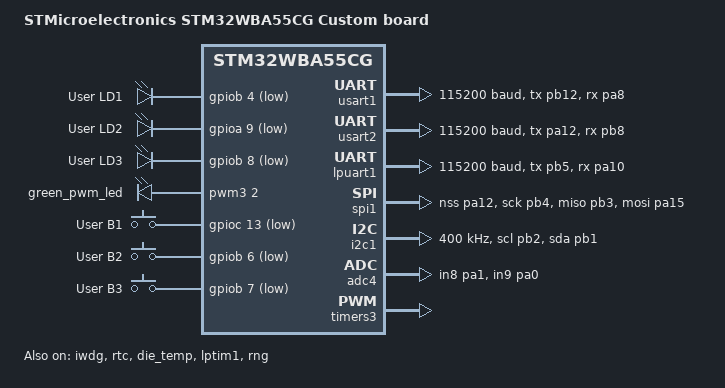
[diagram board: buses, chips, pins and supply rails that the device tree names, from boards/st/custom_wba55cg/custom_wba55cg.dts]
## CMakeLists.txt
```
# SPDX-License-Identifier: Apache-2.0

cmake_minimum_required(VERSION 3.20.0)

# Add the parent directory to the DTS search path
# CMAKE_CURRENT_SOURCE_DIR is the folder containing this CMakeLists.txt
set(DTS_ROOT ${CMAKE_CURRENT_SOURCE_DIR}/..)
list(APPEND BOARD_ROOT ${CMAKE_CURRENT_SOURCE_DIR})

find_package(Zephyr REQUIRED HINTS $ENV{ZEPHYR_BASE})
project(rcp_ble_ot)

target_sources(app PRIVATE
	../src/uart_mux.c
  src/hci_uart_async.c
  src/main.c
)

target_include_directories(app PRIVATE
	../src
)
```

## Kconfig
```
source "Kconfig.zephyr"

source "rcp_ble_ot/src/Kconfig.uart_mux"
```

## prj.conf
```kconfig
# hci_uart_async
CONFIG_SERIAL=y
CONFIG_UART_ASYNC_API=y
CONFIG_UART_MUX=y

#########################################################################
# PROTOCOL MAXIMUM PACKET SIZES (REFERENCE GUIDE)
#########################################################################
#
# 1. BLE HCI COMMAND PACKET
#    Structure: OpCode (2B) + Length (1B) + Parameters (255B)
#    Max Size:  258 bytes
#    Note:      Used for Host-to-Controller communication.
#
# 2. BLE HCI EVENT PACKET
#    Structure: Event Code (1B) + Length (1B) + Parameters (255B)
#    Max Size:  257 bytes
#    Note:      Used for Controller-to-Host notifications.
#
# 3. BLE HCI ACL DATA PACKET
#    Structure: Handle/Flags (2B) + Length (2B) + Data (65535B)
#    Max Size:  65,539 bytes (Theoretical)
#    Practical: Zephyr typically defaults to 251 bytes to match DLE.
#
# 4. BLE HCI ISO DATA PACKET (LE AUDIO)
#    Structure: Handle/Flags (2B) + Length (14-bit) + Data (16383B)
#    Max Size:  16,387 bytes
#
# 5. OPENTHREAD SPINEL (OVER UART/HDLC)
#    Structure: Frame (1300B) + HDLC Overhead + Byte Stuffing
#    Max Size:  ~1300 bytes (Logical)
#    Wire Max:  ~2600 bytes (Worst-case HDLC escaping over UART)
#
#########################################################################
CONFIG_UART_MUX_RX_BUF_SIZE=3072
# See above, ignoring ISO case

# hci_raw (dependency of hci_uart)
CONFIG_BT=y
CONFIG_BT_HCI_RAW=y
CONFIG_BT_HCI_RAW_H4=y
CONFIG_BT_HCI_RAW_H4_ENABLE=y

# Controller configuration. Modify these for your application's needs.
CONFIG_BT_MAX_CONN=16
CONFIG_BT_BUF_ACL_RX_SIZE=255
CONFIG_BT_BUF_CMD_TX_SIZE=255

CONFIG_BT_HCI_TX_STACK_SIZE_WITH_PROMPT=y
CONFIG_BT_HCI_TX_STACK_SIZE=1280

# Send an initial HCI_Command_Complete event on boot without waiting for
# HCI_Reset. Make sure to use the same value for this setting in your
# host application.
#CONFIG_BT_WAIT_NOP=y


CONFIG_NETWORKING=y
CONFIG_NET_L2_OPENTHREAD=y

# Disable certain parts of Zephyr IPv6 stack
CONFIG_NET_IPV6_NBR_CACHE=n
CONFIG_NET_IPV6_MLD=n

CONFIG_OPENTHREAD_THREAD_VERSION_1_4=y

CONFIG_OPENTHREAD_COPROCESSOR=y
CONFIG_OPENTHREAD_COPROCESSOR_NCP=n
CONFIG_OPENTHREAD_COPROCESSOR_RCP=y

CONFIG_NET_PKT_RX_COUNT=8
CONFIG_NET_PKT_TX_COUNT=8

# Add features required for NCP
CONFIG_OPENTHREAD_DIAG=y
CONFIG_OPENTHREAD_DHCP6_SERVER=y
CONFIG_OPENTHREAD_COMMISSIONER=y
CONFIG_OPENTHREAD_BORDER_AGENT=y
CONFIG_OPENTHREAD_BORDER_ROUTER=y
CONFIG_OPENTHREAD_UDP_FORWARD=y
CONFIG_OPENTHREAD_ENABLE_SERVICE=y

CONFIG_OPENTHREAD_RADIO_WORKQUEUE_STACK_SIZE=1536

#
# Logging / console
#
# Disable console & polling UART usage. It is not possible to use it with virtual UART.
CONFIG_CONSOLE=y
CONFIG_UART_CONSOLE=y
CONFIG_BOOT_BANNER=y

# Enable logging
CONFIG_LOG=y
CONFIG_LOG_MODE_DEFERRED=y
CONFIG_LOG_DEFAULT_LEVEL=3
CONFIG_LOG_OUTPUT=y

# Log backend infrastructure
CONFIG_LOG_BACKEND_UART=y

CONFIG_LOG_BUFFER_SIZE=2048
CONFIG_LOG_PROCESS_THREAD_CUSTOM_PRIORITY=y
CONFIG_LOG_PROCESS_THREAD_STACK_SIZE=1024
CONFIG_LOG_PROCESS_THREAD_PRIORITY=5
CONFIG_LOG_PROCESS_TRIGGER_THRESHOLD=1

# Needed by logging
CONFIG_PRINTK=y

# Use NVS as settings backend
CONFIG_NVS=y

# Kernel options
CONFIG_MAIN_STACK_SIZE=1024

# Debug options
CONFIG_INIT_STACKS=y

CONFIG_ASSERT=n
CONFIG_DEBUG_THREAD_INFO=y

# Enable the thread analyzer
CONFIG_THREAD_ANALYZER=y
CONFIG_THREAD_ANALYZER_USE_LOG=y
#CONFIG_THREAD_ANALYZER_AUTO=y
#CONFIG_THREAD_ANALYZER_AUTO_INTERVAL=5

# Required to calculate stack usage
CONFIG_THREAD_STACK_INFO=y
```

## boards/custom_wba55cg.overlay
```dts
/*
 * Copyright (c) 2025 STMicroelectronics
 *
 * SPDX-License-Identifier: Apache-2.0
 */

usart_console: &usart2 {
	clocks = <&rcc STM32_CLOCK(APB1, 17)>,
		 <&rcc STM32_SRC_SYSCLK USART2_SEL(1)>;
	pinctrl-0 = <&usart2_tx_pb0 &usart2_rx_pb8>;
	pinctrl-1 = <&analog_pb0 &analog_pb8>;
	pinctrl-names = "default", "sleep";
	current-speed = <115200>;
	status = "okay";
};

usart_mux: &usart1 {
	clocks = <&rcc STM32_CLOCK(APB2, 14)>,
		 <&rcc STM32_SRC_SYSCLK USART1_SEL(1)>;
	dmas = <&gpdma1 0 12 STM32_DMA_PERIPH_TX>,
	       <&gpdma1 1 11 (STM32_DMA_PERIPH_RX | STM32_DMA_MODE_CYCLIC)>;
	dma-names = "tx", "rx";
	pinctrl-0 = <&usart1_tx_pb12 &usart1_rx_pa8 &usart1_cts_pa7 &usart1_rts_pa6>;
	pinctrl-1 = <&analog_pb12 &analog_pa8 &analog_pa7 &analog_pa6>;
	pinctrl-names = "default",
	                "sleep";
	hw-flow-control;
	current-speed = <2000000>;
	fifo-enable;
	status = "okay";
};

&pinctrl {
			/omit-if-no-ref/ pta_active_pb3: pta_active_pb3 {
				pinmux = <STM32_PINMUX('B', 3, AF10)>;
				bias-pull-down;
				slew-rate = "very-high-speed";
			};
			/omit-if-no-ref/ pta_active_pb4: pta_active_pb4 {
				pinmux = <STM32_PINMUX('B', 4, AF12)>;
				bias-pull-down;
				slew-rate = "very-high-speed";
			};

			/omit-if-no-ref/ pta_grant_pb15: pta_grant_pb15 {
				pinmux = <STM32_PINMUX('B', 15, AF10)>;
				bias-pull-down;
				slew-rate = "very-high-speed";
			};
			/omit-if-no-ref/ pta_grant_h3: pta_grant_ph3 {
				pinmux = <STM32_PINMUX('H', 3, AF10)>;
				bias-pull-down;
				slew-rate = "very-high-speed";
			};

			/omit-if-no-ref/ pta_status_pa12: pta_status_pa12 {
				pinmux = <STM32_PINMUX('A', 12, AF10)>;
				bias-pull-down;
				slew-rate = "very-high-speed";
			};
			/omit-if-no-ref/ pta_status_pa14: pta_status_pa14 {
				pinmux = <STM32_PINMUX('A', 14, AF10)>;
				bias-pull-down;
				slew-rate = "very-high-speed";
			};
			/omit-if-no-ref/ pta_status_pa15: pta_status_pa15 {
				pinmux = <STM32_PINMUX('A', 15, AF10)>;
				bias-pull-down;
				slew-rate = "very-high-speed";
			};

			/omit-if-no-ref/ pta_priority_pa13: pta_priority_pa13 {
				pinmux = <STM32_PINMUX('A', 13, AF10)>;
				bias-pull-down;
				slew-rate = "very-high-speed";
			};
			/omit-if-no-ref/ pta_priority_pb4: pta_priority_pb4 {
				pinmux = <STM32_PINMUX('B', 4, AF10)>;
				bias-pull-down;
				slew-rate = "very-high-speed";
			};
};

/ {
	/* Separate node for the extra GPIOs for power management */
	usart_mux_pm: usart_mux_pm {
		compatible = "st,uart-power-ctrl";   /* custom compatible */
		wakeup-from-host-gpios = <&gpioa 0 GPIO_ACTIVE_HIGH>;   /* Wakeup from host */
		wakeup-to-host-gpios = <&gpioa 1 GPIO_ACTIVE_LOW>;    /* Wakeup to host */
	};
    pta: pta-controller {
        compatible = "st,pta-gpio";
        status = "okay";
        pinctrl-0 = <&pta_active_pb3 &pta_grant_pb15 &pta_status_pa15>;
        pinctrl-1 = <&analog_pb3 &analog_pb15 &analog_pa15>;
		pinctrl-names = "default",
						"sleep";
    };
};


&gpdma1 {
	status = "okay";
};

&clk_hse {
	clock-frequency = < DT_FREQ_M(64) >;
};

&ieee802154 {
	status = "okay";
};

#include "nucleo_wbaxx.dtsi"
```

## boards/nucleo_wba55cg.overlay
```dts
/*
 * Copyright (c) 2025 STMicroelectronics
 *
 * SPDX-License-Identifier: Apache-2.0
 */

usart_console: &usart1 {
	status = "okay";
};

usart_mux: &lpuart1 {
	clocks = <&rcc STM32_CLOCK(APB7, 6)>,
		<&rcc STM32_SRC_SYSCLK LPUART1_SEL(1)>;
	dmas = <&gpdma1 0 16 STM32_DMA_PERIPH_TX>,
	       <&gpdma1 1 15 (STM32_DMA_PERIPH_RX | STM32_DMA_MODE_CYCLIC)>;
	dma-names = "tx", "rx";
	pinctrl-0 = <&lpuart1_tx_pb5 &lpuart1_rx_pa10 &lpuart1_rts_pb9 &lpuart1_cts_pb15>;
	pinctrl-1 = <&analog_pb5 &analog_pa10 &analog_pb9 &analog_pb15>;
	pinctrl-names = "default",
	                "sleep";
	hw-flow-control;
	current-speed = <2000000>;
	fifo-enable;
	status = "okay";
};

&gpdma1 {
	status = "okay";
};

&clk_hse {
	clock-frequency = < DT_FREQ_M(64) >;
};

&ieee802154 {
	status = "okay";
};

#include "nucleo_wbaxx.dtsi"
```

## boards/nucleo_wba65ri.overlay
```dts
/*
 * Copyright (c) 2025 STMicroelectronics
 *
 * SPDX-License-Identifier: Apache-2.0
 */

&usart1 {
	status = "okay";
};

usart_mux: &usart2 {
	clocks = <&rcc STM32_CLOCK(APB1, 17)>,
		<&rcc STM32_SRC_SYSCLK USART2_SEL(1)>;
	dmas = <&gpdma1 0 14 STM32_DMA_PERIPH_TX>,
	       <&gpdma1 1 13 (STM32_DMA_PERIPH_RX | STM32_DMA_MODE_CYCLIC)>;
	dma-names = "tx", "rx";
	pinctrl-0 = < &usart2_tx_pa12 &usart2_rx_pa11 &usart2_rts_pa15 &usart2_cts_pb15 >;
	pinctrl-1 = < &analog_pa12 &analog_pa11 &analog_pa15 &analog_pb15 >;
	pinctrl-names = "default",
	                "sleep";
	hw-flow-control;
	current-speed = <2000000>;
	fifo-enable;
	status = "okay";
};

&gpdma1 {
	status = "okay";
};

&clk_hse {
	clock-frequency = < DT_FREQ_M(64) >;
};

/ {
	uart_mux_bt: uart-mux-bt {
		compatible = "st,uart-mux";
			priority = <0>;   /* BLE HCI – highest */
			plc_tx = <0x91>; /* Specified in payload */
			plc_rx = [91];
			status = "okay";
	};

	uart_mux_ot: uart-mux-ot {
		compatible = "st,uart-mux";
			priority = <1>;   /* OpenThread */
			plc_tx = <0x92>; /* Specified in payload */
			plc_rx = [92];
         	status = "okay";
        };

	uart_mux_sys: uart-mux-sys {
		compatible = "st,uart-mux";
		priority = <2>;   /* system / logs */
		plc_tx = <0x90>;
		plc_rx = [90];
         	status = "okay";		
	};

	chosen {
		zephyr,bt-c2h-uart = &uart_mux_bt;
		zephyr,ot-uart = &uart_mux_ot;
		zephyr,console = &usart1;
		uart-mux = &usart_mux;
	};
};
```

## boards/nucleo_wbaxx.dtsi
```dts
/*
 * Copyright (c) 2025 STMicroelectronics
 *
 * SPDX-License-Identifier: Apache-2.0
 */

/ {
	uart_mux_bt: uart-mux-bt {
		compatible = "st,uart-mux";
			priority = <0>;   /* BLE HCI – highest */
			plc_tx = <0x91>; /* Specified in payload */
			plc_rx = [91];
			status = "okay";
	};

	uart_mux_ot: uart-mux-ot {
		compatible = "st,uart-mux";
			priority = <1>;   /* OpenThread */
			plc_tx = <0x92>; /* Specified in payload */
			plc_rx = [92];
         	status = "okay";
        };

	uart_mux_sys: uart-mux-sys {
		compatible = "st,uart-mux";
		priority = <2>;   /* system / logs */
		plc_tx = <0x90>;
		plc_rx = [90];
         	status = "okay";		
	};

	chosen {
		zephyr,bt-c2h-uart = &uart_mux_bt;
		zephyr,ot-uart = &uart_mux_ot;
		uart-mux = &usart_mux;
		zephyr,console = &usart_console;
	};
};
```

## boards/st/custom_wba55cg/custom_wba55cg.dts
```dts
/*
 * Copyright (c)  2023 STMicroelectronics
 *
 * SPDX-License-Identifier: Apache-2.0
 */

/dts-v1/;
#include <st/wba/stm32wba55Xg.dtsi>
#include <st/wba/stm32wba55cgux-pinctrl.dtsi>
#include <zephyr/dt-bindings/input/input-event-codes.h>

/ {
	model = "STMicroelectronics STM32WBA55CG Custom board";
	compatible = "st,stm32wba55cg-nucleo";

	#address-cells = <1>;
	#size-cells = <1>;

	chosen {
		zephyr,bt-c2h-uart = &usart1;
		zephyr,uart-pipe = &usart1;
		zephyr,console = &usart1;
		zephyr,shell-uart = &usart1;
		zephyr,sram = &sram0;
		zephyr,flash = &flash0;
		zephyr,code-partition = &slot0_partition;
	};

	leds: leds {
		compatible = "gpio-leds";

		blue_led_1: led_0 {
			gpios = <&gpiob 4 GPIO_ACTIVE_LOW>;
			label = "User LD1";
		};

		green_led_2: led_1 {
			gpios = <&gpioa 9 GPIO_ACTIVE_LOW>;
			label = "User LD2";
		};

		red_led_3: led_2 {
			gpios = <&gpiob 8 GPIO_ACTIVE_LOW>;
			label = "User LD3";
		};
	};

	pwmleds: pwmleds {
		compatible = "pwm-leds";

		green_pwm_led: green_pwm_led {
			pwms = <&pwm3 2 PWM_MSEC(20) PWM_POLARITY_NORMAL>;
		};
	};

	gpio_keys {
		compatible = "gpio-keys";

		user_button_1: button_0 {
			label = "User B1";
			gpios = <&gpioc 13 (GPIO_ACTIVE_LOW | GPIO_PULL_UP)>;
			zephyr,code = <INPUT_KEY_0>;
		};

		user_button_2: button_1 {
			label = "User B2";
			gpios = <&gpiob 6 (GPIO_ACTIVE_LOW | GPIO_PULL_UP)>;
			zephyr,code = <INPUT_KEY_1>;
		};

		user_button_3: button_2 {
			label = "User B3";
			gpios = <&gpiob 7 (GPIO_ACTIVE_LOW | GPIO_PULL_UP)>;
			zephyr,code = <INPUT_KEY_2>;
		};
	};

	aliases {
		led0 = &blue_led_1;
		led1 = &green_led_2;
		led2 = &red_led_3;
		pwm-led0 = &green_pwm_led;
		sw0 = &user_button_1;
		sw1 = &user_button_2;
		sw2 = &user_button_3;
		mcuboot-led0 = &blue_led_1;
		mcuboot-button0 = &user_button_1;
		die-temp0 = &die_temp;
	};
};

&clk_lse {
	status = "okay";
};

&clk_hse {
	status = "okay";
};

&clk_hsi {
	status = "okay";
};

&rcc {
	clocks = <&clk_hse>;
	clock-frequency = <DT_FREQ_M(32)>; /* Lowest value to manage radio events */
	ahb-prescaler = <1>;
	ahb5-prescaler = <1>;
	apb1-prescaler = <1>;
	apb2-prescaler = <2>;
	apb7-prescaler = <1>;
};

&pwr {
	power-supply = "smps";
};

&iwdg {
	status = "okay";
};

&rtc {
	status = "okay";
	clocks = <&rcc STM32_CLOCK(APB7, 21)>,
		 <&rcc STM32_SRC_LSE RTC_SEL(1)>;
	prescaler = <32768>;
};

&usart1 {
	clocks = <&rcc STM32_CLOCK(APB2, 14)>,
		 <&rcc STM32_SRC_HSI16 USART1_SEL(2)>;
	pinctrl-0 = <&usart1_tx_pb12 &usart1_rx_pa8>;
	pinctrl-1 = <&analog_pb12 &analog_pa8>;
	pinctrl-names = "default", "sleep";
	current-speed = <115200>;
	status = "okay";
};

&usart2 {
	clocks = <&rcc STM32_CLOCK(APB1, 17)>,
		 <&rcc STM32_SRC_HSI16 USART2_SEL(2)>;
	pinctrl-0 = <&usart2_tx_pa12 &usart2_rx_pb8>;
	pinctrl-1 = <&analog_pa12 &analog_pb8>;
	pinctrl-names = "default", "sleep";
	current-speed = <115200>;
	status = "okay";
};

&lpuart1 {
	pinctrl-0 = <&lpuart1_tx_pb5 &lpuart1_rx_pa10>;
	pinctrl-names = "default";
	current-speed = <115200>;
	status = "okay";
};

&spi1 {
	pinctrl-0 = <&spi1_nss_pa12 &spi1_sck_pb4
		     &spi1_miso_pb3 &spi1_mosi_pa15>;
	pinctrl-names = "default";
	status = "okay";
};

&i2c1 {
	pinctrl-0 = <&i2c1_scl_pb2 &i2c1_sda_pb1>;
	pinctrl-names = "default";
	status = "okay";
	clock-frequency = <I2C_BITRATE_FAST>;
};

&adc4 {
	pinctrl-0 = <&adc4_in8_pa1 &adc4_in9_pa0>;
	pinctrl-names = "default";
	st,adc-clock-source = "ASYNC";
	st,adc-prescaler = <4>;
	status = "okay";
};

&die_temp {
	status = "okay";
};

&timers3 {
	st,prescaler = <10000>;
	status = "okay";

	pwm3: pwm {
		status = "okay";
		pinctrl-0 = <&tim3_ch2_pa9>;
		pinctrl-names = "default";
	};
};

stm32_lp_tick_source: &lptim1 {
	clocks = <&rcc STM32_CLOCK(APB7, 11)>,
		 <&rcc STM32_SRC_LSE LPTIM1_SEL(3)>;
	status = "okay";
};

&rng {
	status = "okay";
};

&flash0 {
	partitions {
		compatible = "fixed-partitions";
		#address-cells = <1>;
		#size-cells = <1>;

		boot_partition: partition@0 {
			label = "mcuboot";
			reg = <0x00000000 DT_SIZE_K(64)>;
		};

		slot0_partition: partition@10000 {
			label = "image-0";
			reg = <0x00010000 DT_SIZE_K(448)>;
		};

		slot1_partition: partition@80000 {
			label = "image-1";
			reg = <0x00080000 DT_SIZE_K(456)>;
		};

		storage_partition: partition@f2000 {
			label = "storage";
			reg = <0x000f2000 DT_SIZE_K(56)>;
		};
	};
};
```

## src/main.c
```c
/* Copyright (c) 2023 Nordic Semiconductor ASA
 * SPDX-License-Identifier: Apache-2.0
 */
#include <stdio.h>
#include <zephyr/kernel.h>
#include <zephyr/sys/printk.h>
#include <zephyr/device.h>
#include <zephyr/drivers/uart.h>
#include "uart_mux.h"
#include <zephyr/logging/log.h>
#include <zephyr/debug/thread_analyzer.h>

LOG_MODULE_REGISTER(main, LOG_LEVEL_INF);
#define DEBUG_STACK_SIZE 1024
#define DEBUG_PRIORITY K_LOWEST_THREAD_PRIO

extern int hci_uart_main(void);
/* Retrieve the device pointer for the console */
static const struct device *const console_dev = DEVICE_DT_GET(DT_CHOSEN(zephyr_console));
/* Retrieve the device pointer for the console */
static const struct device *const rcp_dev = DEVICE_DT_GET(DT_CHOSEN(uart_mux));
#define CONSOLE_BR DT_PROP(DT_CHOSEN(zephyr_console), current_speed)
#define RCP_BR DT_PROP(DT_CHOSEN(uart_mux), current_speed)
static bool console_has_flow_ctrl = DT_PROP_OR(DT_CHOSEN(zephyr_console), hw_flow_control, false);
static bool rcp_has_flow_ctrl = DT_PROP_OR(DT_CHOSEN(uart_mux), hw_flow_control, false);

void debug_thread(void *a, void *b, void *c)
{
    LOG_INF("Debug thread started");
    while (1) {
	struct uart_mux_rx_stats stats;

	/* Sleep most of the time */
	k_sleep(K_SECONDS(10));
	uart_mux_get_rx_stats(&stats);
	LOG_INF("UART Mux RX Stats:");
	LOG_INF("  Frames OK:     %u", stats.frames_ok);
	LOG_INF("  CRC Errors:    %u", stats.crc_errors);
	LOG_INF("  Header Errors: %u", stats.header_errors);
	LOG_INF("  Length Errors: %u", stats.length_errors);
	LOG_INF("  No Channel:    %u", stats.no_channel);
	thread_analyzer_print(0);
    }
}

K_THREAD_DEFINE(debug_tid,
                DEBUG_STACK_SIZE,
                debug_thread,
                NULL, NULL, NULL,
                DEBUG_PRIORITY,
                0,
                0);

int main(void)
{
	printf("BLE-Openthread RCP on %s\n", CONFIG_BOARD_TARGET);
	printf("Console on %s (baudrate:%d, hardware flow_control:%s)\n",
		console_dev->name,
		CONSOLE_BR,
		console_has_flow_ctrl ? "RTS/CTS" : "None");
	printf("RCP UART on %s (baudrate:%d, flow_control:%s)\n",
		rcp_dev->name,
		RCP_BR,
		rcp_has_flow_ctrl ? "RTS/CTS" : "None");
	hci_uart_main();
	return 0;
}
```

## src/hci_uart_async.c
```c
/* Copyright (c) 2023 Nordic Semiconductor ASA
 * SPDX-License-Identifier: Apache-2.0
 */

#include <zephyr/kernel.h>
#include <zephyr/sys/__assert.h>
#include <zephyr/sys/time_units.h>
#include <zephyr/toolchain/common.h>
#include <errno.h>
#include <stddef.h>
#include <string.h>

#include <zephyr/arch/cpu.h>
#include <zephyr/sys/byteorder.h>
#include <zephyr/logging/log.h>
#include <zephyr/sys/util.h>

#include <zephyr/device.h>
#include <zephyr/init.h>
#include <zephyr/drivers/uart.h>

#include <zephyr/usb/usb_device.h>

#include <zephyr/net_buf.h>
#include <zephyr/bluetooth/bluetooth.h>
#include <zephyr/bluetooth/l2cap.h>
#include <zephyr/bluetooth/hci.h>
#include <zephyr/bluetooth/buf.h>
#include <zephyr/bluetooth/hci_raw.h>

LOG_MODULE_REGISTER(hci_uart_async);

static const struct device *const hci_uart_dev = DEVICE_DT_GET(DT_CHOSEN(zephyr_bt_c2h_uart));

static K_THREAD_STACK_DEFINE(h2c_thread_stack, CONFIG_BT_HCI_TX_STACK_SIZE);
static struct k_thread h2c_thread;

struct k_poll_signal uart_c2h_tx_sig;

static K_FIFO_DEFINE(c2h_queue);

extern struct k_mutex ble_ctrl_stack_mutex;

int safe_bt_send(struct net_buf *buf)
{
	int return_value;
	k_mutex_lock(&ble_ctrl_stack_mutex, K_FOREVER);
	return_value = bt_send(buf);
	k_mutex_unlock(&ble_ctrl_stack_mutex);
	return return_value;
}
/* -------------------------------------------------------------------------- */
/*                              RX BYTE FIFO                                  */
/* -------------------------------------------------------------------------- */

#define H2C_RX_FIFO_SIZE 256
#define RX_TIMEOUT 500

static uint8_t h2c_rx_fifo[H2C_RX_FIFO_SIZE];
static uint16_t h2c_rx_head;
static uint16_t h2c_rx_tail;
static struct k_sem h2c_rx_sem;

/* RX DMA buffers */
#if DT_NODE_HAS_COMPAT(DT_CHOSEN(zephyr_bt_c2h_uart), st_uart_mux)
static uint8_t rx_buf[0];
#else
static uint8_t rx_buf[64];
#endif
/** Send raw data on c2h UART.
 *
 * Blocks until completion. Not thread-safe.
 *
 * @retval 0 on success
 * @retval -EBUSY Another transmission is in progress. This a
 * thread-safety violation.
 * @retval -errno @ref uart_tx error.
 */
static int uart_c2h_tx(const uint8_t *data, size_t size)
{
	int err;
	struct k_poll_signal *sig = &uart_c2h_tx_sig;
	struct k_poll_event done[] = {
		K_POLL_EVENT_INITIALIZER(K_POLL_TYPE_SIGNAL, K_POLL_MODE_NOTIFY_ONLY, sig),
	};

	k_poll_signal_reset(sig);
	err = uart_tx(hci_uart_dev, data, size, SYS_FOREVER_US);

	if (err) {
		LOG_ERR("uart c2h tx: err %d", err);
		return err;
	}

	err = k_poll(done, ARRAY_SIZE(done), K_FOREVER);
	__ASSERT_NO_MSG(err == 0);

	return 0;
}

/* Function expects that type is validated and only CMD, ISO or ACL will be used. */
static uint32_t hci_payload_size(const uint8_t *hdr_buf, uint8_t h4_type)
{
	switch (h4_type) {
	case BT_HCI_H4_CMD:
		return ((const struct bt_hci_cmd_hdr *)hdr_buf)->param_len;
	case BT_HCI_H4_ACL:
		return sys_le16_to_cpu(((const struct bt_hci_acl_hdr *)hdr_buf)->len);
	case BT_HCI_H4_ISO:
		return bt_iso_hdr_len(
			sys_le16_to_cpu(((const struct bt_hci_iso_hdr *)hdr_buf)->len));
	default:
		LOG_ERR("Invalid type: %u", h4_type);
		return 0;
	}
}

static uint8_t hci_hdr_size(uint8_t h4_type)
{
	switch (h4_type) {
	case BT_HCI_H4_CMD:
		return sizeof(struct bt_hci_cmd_hdr);
	case BT_HCI_H4_ACL:
		return sizeof(struct bt_hci_acl_hdr);
	case BT_HCI_H4_ISO:
		return sizeof(struct bt_hci_iso_hdr);
	default:
		LOG_ERR("Unexpected h4 type: %u", h4_type);
		return 0;
	}
}

/** Send raw data on c2h UART.
 *
 * Blocks until either @p size has been received or special UART
 * condition occurs on the UART RX line, like an UART break or parity
 * error.
 *
 * Not thread-safe.
 *
 * @retval 0 on success
 * @retval -EBUSY Another transmission is in progress. This a
 * thread-safety violation.
 * @retval -errno @ref uart_rx_enable error.
 * @retval +stop_reason Special condition @ref uart_rx_stop_reason.
 */
static int uart_h2c_rx(uint8_t *dst, size_t size)
{
	for (size_t i = 0; i < size; i++) {
		k_sem_take(&h2c_rx_sem, K_FOREVER);

		dst[i] = h2c_rx_fifo[h2c_rx_tail];
		h2c_rx_tail = (h2c_rx_tail + 1) % H2C_RX_FIFO_SIZE;
	}

	return 0;
}

/** Inject a HCI EVT Hardware error into the c2h packet stream.
 *
 * This uses `bt_recv`, just as if the controller is sending the error.
 */
static void send_hw_error(void)
{
	const uint8_t err_code = 0;
	const uint8_t hci_evt_hw_err[] = {BT_HCI_EVT_HARDWARE_ERROR,
					  sizeof(struct bt_hci_evt_hardware_error), err_code};

	struct net_buf *buf = bt_buf_get_rx(BT_BUF_EVT, K_FOREVER);

	net_buf_add_mem(buf, hci_evt_hw_err, sizeof(hci_evt_hw_err));

	/* Inject the message into the c2h queue. */
	k_fifo_put(&c2h_queue, buf);

	/* The c2h thread will send the message at some point. The host
	 * will receive it and reset the controller.
	 */
}

static void recover_sync_by_reset_pattern(void)
{
	/* { BT_HCI_H4_CMD, le_16(HCI_CMD_OP_RESET), len=0 } */
	const uint8_t h4_cmd_reset[] = {0x01, 0x03, 0x0C, 0x00};
	const uint32_t reset_pattern = sys_get_be32(h4_cmd_reset);
	int err;
	struct net_buf *h2c_cmd_reset;
	uint32_t shift_register = 0;

	LOG_DBG("Looking for reset pattern");

	while (shift_register != reset_pattern) {
		uint8_t read_byte;

		uart_h2c_rx(&read_byte, sizeof(uint8_t));
		LOG_DBG("h2c: 0x%02x", read_byte);
		shift_register = (shift_register * 0x100) + read_byte;
	}

	LOG_DBG("Pattern found");
	h2c_cmd_reset = bt_buf_get_tx(BT_BUF_CMD, K_FOREVER,
				      &h4_cmd_reset[1], sizeof(h4_cmd_reset) - 1);
	LOG_DBG("Fowarding reset");

	err = safe_bt_send(h2c_cmd_reset);
	__ASSERT(!err, "Failed to send reset: %d", err);
}

static void h2c_h4_transport(void)
{
	/* When entering this function, the h2c stream should be
	 * 'synchronized'. I.e. The stream should be at a H4 packet
	 * boundary.
	 *
	 * This function returns to signal a desynchronization.
	 * When this happens, the caller should resynchronize before
	 * entering this function again. It's up to the caller to decide
	 * how to resynchronize.
	 */

	for (;;) {
		int err;
		struct net_buf *buf;
		uint8_t h4_type;
		uint8_t hdr_size;
		uint8_t *hdr_buf;
		uint16_t payload_size;

		LOG_DBG("h2c: listening");

		/* Read H4 type. */
		err = uart_h2c_rx(&h4_type, sizeof(uint8_t));

		if (err) {
			return;
		}
		LOG_DBG("h2c: h4_type %d", h4_type);

		/* Allocate buf. */
		buf = bt_buf_get_tx(bt_buf_type_from_h4(h4_type, BT_BUF_OUT), K_FOREVER, NULL, 0);
		LOG_DBG("h2c: buf %p", buf);

		if (!buf) {
			/* `h4_type` was invalid. */
			__ASSERT_NO_MSG(hci_hdr_size(h4_type) == 0);

			LOG_WRN("bt_buf_get_tx failed h4_type %d", h4_type);
			return;
		}

		/* Read HCI header. */
		hdr_size = hci_hdr_size(h4_type);
		hdr_buf = net_buf_add(buf, hdr_size);

		err = uart_h2c_rx(hdr_buf, hdr_size);
		if (err) {
			net_buf_unref(buf);
			return;
		}
		LOG_HEXDUMP_DBG(hdr_buf, hdr_size, "h2c: hci hdr");

		/* Read HCI payload. */
		payload_size = hci_payload_size(hdr_buf, h4_type);

		LOG_DBG("h2c: payload_size %u", payload_size);

		if (payload_size == 0) {
			/* Done, dont rx zero bytes */
		} else if (payload_size <= net_buf_tailroom(buf)) {
			uint8_t *payload_dst = net_buf_add(buf, payload_size);

			err = uart_h2c_rx(payload_dst, payload_size);
			if (err) {
				net_buf_unref(buf);
				return;
			}
			LOG_HEXDUMP_DBG(payload_dst, payload_size, "h2c: hci payload");
		} else {
			/* Discard oversize packet. */
			uint8_t *discard_dst;
			uint16_t discard_size;

			LOG_WRN("h2c: Discarding oversize h4_type %d payload_size %d.", h4_type,
				payload_size);

			/* Reset `buf` so all of it is available. */
			net_buf_reset(buf);
			discard_dst = net_buf_tail(buf);
			discard_size = net_buf_max_len(buf);

			while (payload_size) {
				uint16_t read_size = MIN(payload_size, discard_size);

				err = uart_h2c_rx(discard_dst, read_size);
				if (err) {
					net_buf_unref(buf);
					return;
				}

				payload_size -= read_size;
			}

			net_buf_unref(buf);
			buf = NULL;
		}

		LOG_DBG("h2c: packet done");

		/* Route buf to Controller. */
		if (buf) {
			err = safe_bt_send(buf);
			if (err) {
				/* This is not a transport error. */
				LOG_ERR("bt_send err %d", err);
				net_buf_unref(buf);
				buf = NULL;
			}
		}

		k_yield();
	}
}

static void h2c_thread_entry(void *p1, void *p2, void *p3)
{
	k_thread_name_set(k_current_get(), "HCI TX (h2c)");

	for (;;) {
		LOG_DBG("Synchronized");
		h2c_h4_transport();
		LOG_WRN("Desynchronized");
		send_hw_error();
		recover_sync_by_reset_pattern();
	}
}

/* -------------------------------------------------------------------------- */
/*                              UART CALLBACK                                 */
/* -------------------------------------------------------------------------- */

void callback(const struct device *dev, struct uart_event *evt, void *user_data)
{
	ARG_UNUSED(user_data);

	switch (evt->type) {

	case UART_RX_RDY: {
		const uint8_t *d = evt->data.rx.buf + evt->data.rx.offset;

		for (size_t i = 0; i < evt->data.rx.len; i++) {
			uint16_t next = (h2c_rx_head + 1) % H2C_RX_FIFO_SIZE;

			if (next == h2c_rx_tail) {
				LOG_ERR("H2C RX FIFO overflow");
				return;
			}

			h2c_rx_fifo[h2c_rx_head] = d[i];
			h2c_rx_head = next;
			k_sem_give(&h2c_rx_sem);
		}
		break;
	}

	case UART_TX_DONE:
		(void)k_poll_signal_raise(&uart_c2h_tx_sig, 0);
		break;

	default:
		break;
	}
}

static int hci_uart_init(void)
{
	int err;

	k_poll_signal_init(&uart_c2h_tx_sig);

	LOG_DBG("");
	k_sem_init(&h2c_rx_sem, 0, H2C_RX_FIFO_SIZE);
	h2c_rx_head = h2c_rx_tail = 0;

	if (!device_is_ready(hci_uart_dev)) {
		LOG_ERR("HCI UART %s is not ready", hci_uart_dev->name);
		return -EINVAL;
	}

	BUILD_ASSERT(IS_ENABLED(CONFIG_UART_ASYNC_API));
	err = uart_callback_set(hci_uart_dev, callback, NULL);

	/* Note: Asserts if CONFIG_UART_ASYNC_API is not enabled for `hci_uart_dev`. */
	__ASSERT(!err, "err %d", err);
	err = uart_rx_enable(hci_uart_dev, rx_buf, sizeof(rx_buf),
			     RX_TIMEOUT);
	__ASSERT(!err, "uart_rx_enable failed");

	return 0;
}

SYS_INIT(hci_uart_init, APPLICATION, CONFIG_KERNEL_INIT_PRIORITY_DEVICE);

const struct {
	uint8_t h4;
	struct bt_hci_evt_hdr hdr;
	struct bt_hci_evt_cmd_complete cc;
} __packed cc_evt = {
	.h4 = BT_HCI_H4_EVT,
	.hdr = {.evt = BT_HCI_EVT_CMD_COMPLETE, .len = sizeof(struct bt_hci_evt_cmd_complete)},
	.cc = {.ncmd = 1, .opcode = sys_cpu_to_le16(BT_OP_NOP)},
};

static void c2h_thread_entry(void)
{
	k_thread_name_set(k_current_get(), "HCI RX (c2h)");

	if (IS_ENABLED(CONFIG_BT_WAIT_NOP)) {
		uart_c2h_tx((char *)&cc_evt, sizeof(cc_evt));
	}

	for (;;) {
		struct net_buf *buf;

		buf = k_fifo_get(&c2h_queue, K_FOREVER);
		uart_c2h_tx(buf->data, buf->len);
		net_buf_unref(buf);
	}
}

void hci_uart_main(void)
{
	int err;

	err = bt_enable_raw(&c2h_queue);
	__ASSERT_NO_MSG(!err);

	/* TX thread. */
	k_thread_create(&h2c_thread, h2c_thread_stack, K_THREAD_STACK_SIZEOF(h2c_thread_stack),
			h2c_thread_entry, NULL, NULL, NULL, K_PRIO_COOP(7), 0, K_NO_WAIT);

	/* Reuse current thread as RX thread. */
	c2h_thread_entry();
}
```
